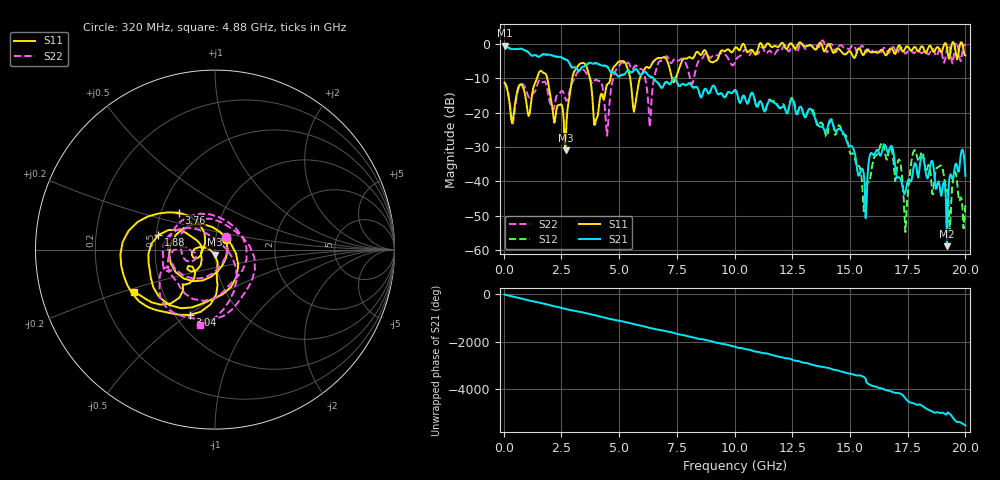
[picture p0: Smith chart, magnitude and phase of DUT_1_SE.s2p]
# MHz S DB R 50
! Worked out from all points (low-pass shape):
!   500 points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, 40 MHz to 20 GHz, reference 50 ohm
!   highest |S21| = -0.43 dB at 40 MHz (marker M1); lowest = -58.9 dB at 19.2 GHz (marker M2)
!   |S21| within 3 dB of the highest: start of sweep to 1.44 GHz; 1.594 GHz to 2.151 GHz (557.5 MHz wide, 29.8 % of centre)
!   lowest |S11| = -31.0 dB at 2.68 GHz (marker M3), VSWR 1.06, Z = 49.9 - j2.81 ohm
!   |S11| at or under -10 dB: start of sweep to 1.443 GHz; 1.888 GHz to 2.968 GHz (1.08 GHz wide, 44.5 % of centre); 3.734 GHz to 4.625 GHz (891 MHz wide, 21.3 % of centre)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
!   |S22| runs from -26.7 to 1.1 dB; largest |S21 - S12| = 0.033
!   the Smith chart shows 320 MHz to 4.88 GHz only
!   S11 on the Smith chart (normalised r, x): 320 MHz: 1.12, +0.13; 1.88 GHz: 0.51, +0.09; 3.04 GHz: 0.59, -0.51; 3.76 GHz: 0.62, +0.28; 4.88 GHz: 0.34, -0.22
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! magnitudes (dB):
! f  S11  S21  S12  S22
! 40 MHz  -11.2  -0.4  -0.4  -11.2
! 320 MHz  -21.4  -1.4  -1.4  -20.5
! 1.88 GHz  -9.7  -3.1  -3.1  -12.7
! 2.68 GHz  -31.0  -4.5  -4.5  -16.1
! 3.04 GHz  -8.2  -6.8  -6.8  -10.4
! 3.4 GHz  -5.5  -6.7  -6.7  -7.5
! 3.76 GHz  -10.8  -5.5  -5.5  -10.4
! 4 GHz  -22.0  -5.6  -5.6  -10.4
! 4.48 GHz  -11.8  -6.6  -6.6  -26.7
! 4.88 GHz  -5.9  -8.8  -8.8  -7.3
! 5.68 GHz  -18.6  -7.4  -7.4  -6.4
! 6.32 GHz  -6.9  -9.4  -9.4  -24.1
! 6.72 GHz  -4.0  -11.6  -11.6  -5.2
! 10.04 GHz  -0.9  -13.4  -13.7  -5.0
! 13.36 GHz  -0.6  -19.5  -18.9  -0.7
! 14.8 GHz  -3.0  -27.2  -26.5  -1.1
! 15.6 GHz  -3.1  -37.9  -48.8  -1.1
! 16.68 GHz  -1.8  -31.5  -31.0  -2.6
! 17.4 GHz  -1.1  -43.2  -54.8  -2.8
! 17.8 GHz  -0.8  -34.8  -30.9  -2.5
! 19.2 GHz  -1.0  -58.9  -42.5  -1.3
! 20 GHz  -3.3  -38.4  -47.0  -0.5
